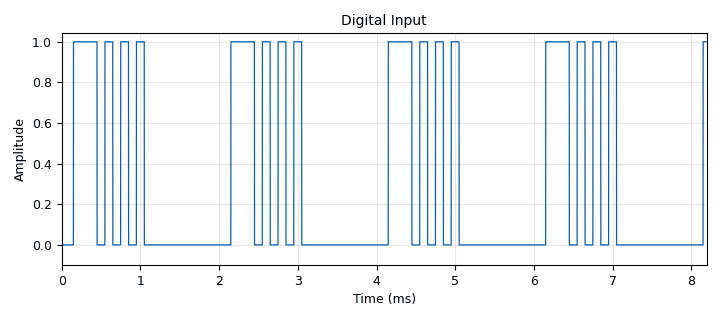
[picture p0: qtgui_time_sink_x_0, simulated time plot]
<?xml version='1.0' encoding='utf-8'?>
<?grc format='1' created='3.7.13'?>
<flow_graph>
<block>
<key>options</key>
<param><key>id</key><value>top_block</value></param>
<param><key>category</key><value>Custom</value></param>
<param><key>generate_options</key><value>qt_gui</value></param>
</block>
<block>
<key>variable</key>
<param><key>id</key><value>center_freq</value></param>
<param><key>value</key><value>905e6</value></param>
</block>
<block>
<key>variable_qtgui_entry</key>
<param><key>id</key><value>freq</value></param>
<param><key>value</key><value>905.5e6</value></param>
<param><key>type</key><value>real</value></param>
</block>
<block>
<key>variable</key>
<param><key>id</key><value>gain</value></param>
<param><key>value</key><value>1</value></param>
</block>
<block>
<key>variable</key>
<param><key>id</key><value>samp_rate</value></param>
<param><key>value</key><value>2e6</value></param>
</block>
<block>
<key>variable</key>
<param><key>id</key><value>symbol_rate</value></param>
<param><key>value</key><value>10e3</value></param>
</block>
<block>
<key>analog_const_source_x</key>
<param><key>id</key><value>analog_const_source_x_0</value></param>
<param><key>const</key><value>0</value></param>
<param><key>type</key><value>float</value></param>
</block>
<block>
<key>analog_sig_source_x</key>
<param><key>id</key><value>analog_sig_source_x_0</value></param>
<param><key>amp</key><value>gain</value></param>
<param><key>freq</key><value>freq-center_freq</value></param>
<param><key>offset</key><value>0</value></param>
<param><key>type</key><value>complex</value></param>
<param><key>samp_rate</key><value>samp_rate</value></param>
<param><key>waveform</key><value>analog.GR_COS_WAVE</value></param>
</block>
<block>
<key>blocks_float_to_complex</key>
<param><key>id</key><value>blocks_float_to_complex_0</value></param>
</block>
<block>
<key>blocks_multiply_xx</key>
<param><key>id</key><value>blocks_multiply_xx_0</value></param>
<param><key>type</key><value>complex</value></param>
</block>
<block>
<key>blocks_repeat</key>
<param><key>id</key><value>blocks_repeat_0</value></param>
<param><key>interp</key><value>int(samp_rate/symbol_rate)</value></param>
<param><key>type</key><value>float</value></param>
</block>
<block>
<key>blocks_vector_source_x</key>
<param><key>id</key><value>blocks_vector_source_x_0</value></param>
<param><key>type</key><value>float</value></param>
<param><key>repeat</key><value>True</value></param>
<param><key>vector</key><value>(0, 1, 1, 1, 0, 1, 0, 1, 0, 1, 0, 0, 0, 0, 0, 0, 0, 0, 0, 0)</value></param>
</block>
<block>
<key>qtgui_time_sink_x</key>
<param><key>id</key><value>qtgui_time_sink_x_0</value></param>
<param><key>color1</key><value>"blue"</value></param>
<param><key>label1</key><value></value></param>
<param><key>name</key><value>"Digital Input"</value></param>
<param><key>size</key><value>16384</value></param>
<param><key>srate</key><value>samp_rate</value></param>
<param><key>tr_delay</key><value>100e-6</value></param>
<param><key>tr_level</key><value>0.5</value></param>
<param><key>type</key><value>float</value></param>
<param><key>ymin</key><value>-0.1</value></param>
</block>
<block>
<key>qtgui_time_sink_x</key>
<param><key>id</key><value>qtgui_time_sink_x_1</value></param>
<param><key>_enabled</key><value>0</value></param>
<param><key>color1</key><value>"blue"</value></param>
<param><key>label1</key><value></value></param>
<param><key>color2</key><value>"red"</value></param>
<param><key>label2</key><value></value></param>
<param><key>name</key><value>"OOK Modulated Signal"</value></param>
<param><key>size</key><value>16384</value></param>
<param><key>srate</key><value>samp_rate</value></param>
<param><key>tr_delay</key><value>0.1e-3</value></param>
<param><key>tr_level</key><value>500</value></param>
<param><key>tr_mode</key><value>qtgui.TRIG_MODE_AUTO</value></param>
<param><key>type</key><value>complex</value></param>
<param><key>ymax</key><value>1100</value></param>
<param><key>ymin</key><value>-1100</value></param>
</block>
<block>
<key>uhd_usrp_sink</key>
<param><key>id</key><value>uhd_usrp_sink_0</value></param>
<param><key>ant0</key><value>TX/RX</value></param>
<param><key>center_freq0</key><value>center_freq</value></param>
<param><key>norm_gain0</key><value>False</value></param>
<param><key>gain0</key><value>30</value></param>
<param><key>clock_rate</key><value>0.0</value></param>
<param><key>dev_args</key><value>""</value></param>
<param><key>type</key><value>fc32</value></param>
<param><key>samp_rate</key><value>samp_rate</value></param>
<param><key>hide_cmd_port</key><value>False</value></param>
<param><key>hide_lo_controls</key><value>True</value></param>
<param><key>sync</key><value></value></param>
<param><key>len_tag_name</key><value></value></param>
</block>
<connection><source_block_id>analog_const_source_x_0</source_block_id><sink_block_id>blocks_float_to_complex_0</sink_block_id><source_key>0</source_key><sink_key>1</sink_key></connection>
<connection><source_block_id>analog_sig_source_x_0</source_block_id><sink_block_id>blocks_multiply_xx_0</sink_block_id><source_key>0</source_key><sink_key>1</sink_key></connection>
<connection><source_block_id>blocks_float_to_complex_0</source_block_id><sink_block_id>blocks_multiply_xx_0</sink_block_id><source_key>0</source_key><sink_key>0</sink_key></connection>
<connection><source_block_id>blocks_multiply_xx_0</source_block_id><sink_block_id>qtgui_time_sink_x_1</sink_block_id><source_key>0</source_key><sink_key>0</sink_key></connection>
<connection><source_block_id>blocks_multiply_xx_0</source_block_id><sink_block_id>uhd_usrp_sink_0</sink_block_id><source_key>0</source_key><sink_key>0</sink_key></connection>
<connection><source_block_id>blocks_repeat_0</source_block_id><sink_block_id>blocks_float_to_complex_0</sink_block_id><source_key>0</source_key><sink_key>0</sink_key></connection>
<connection><source_block_id>blocks_repeat_0</source_block_id><sink_block_id>qtgui_time_sink_x_0</sink_block_id><source_key>0</source_key><sink_key>0</sink_key></connection>
<connection><source_block_id>blocks_vector_source_x_0</source_block_id><sink_block_id>blocks_repeat_0</sink_block_id><source_key>0</source_key><sink_key>0</sink_key></connection>
</flow_graph>
